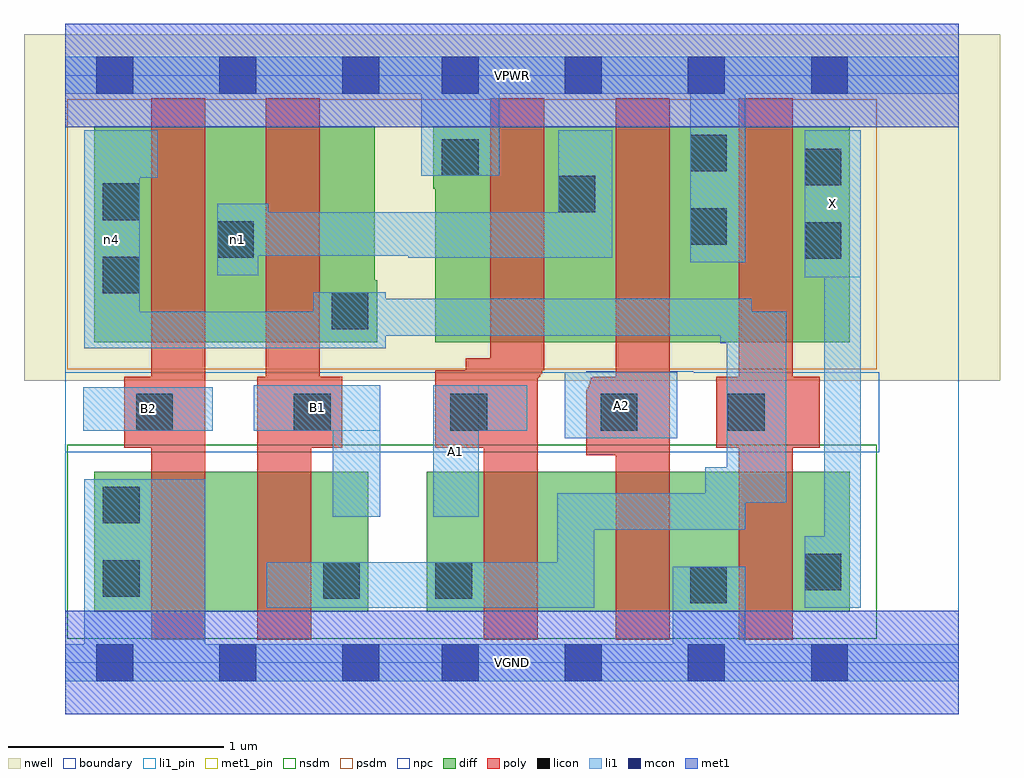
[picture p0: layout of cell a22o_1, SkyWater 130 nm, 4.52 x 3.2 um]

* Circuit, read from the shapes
.subckt a22o_1 A1 A2 B1 B2 VGND VPWR X n1 n4
XM1 n2 B2 VGND VSUBS sky130_fd_pr__nfet_01v8 w=0.65 l=0.25
XM2 n4 B1 n2 VSUBS sky130_fd_pr__nfet_01v8 w=0.65 l=0.25
XM3 n3 A1 n4 VSUBS sky130_fd_pr__nfet_01v8 w=0.65 l=0.25
XM4 VGND A2 n3 VSUBS sky130_fd_pr__nfet_01v8 w=0.65 l=0.25
XM5 X n4 VGND VSUBS sky130_fd_pr__nfet_01v8 w=0.65 l=0.25
XM6 n1 B2 n4 n5 sky130_fd_pr__pfet_01v8 w=1 l=0.25
XM7 n4 B1 n1 n5 sky130_fd_pr__pfet_01v8 w=1 l=0.25
XM8 n1 A1 VPWR n5 sky130_fd_pr__pfet_01v8 w=1 l=0.25
XM9 VPWR A2 n1 n5 sky130_fd_pr__pfet_01v8 w=1 l=0.25
XM10 X n4 VPWR n5 sky130_fd_pr__pfet_01v8 w=1 l=0.25
.ends

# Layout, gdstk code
import gdstk
lib = gdstk.Library(unit=1e-6, precision=1e-09)
def R(c, l, rs):  # rectangles x0, y0, x1, y1
    for r in rs: c.add(gdstk.rectangle(r[:2], r[2:], *l))
def A(c, l, x, y, w, h, nx, ny, dx, dy):  # array of equal rectangles
    R(c, l, [(x+i*dx, y+j*dy, x+i*dx+w, y+j*dy+h) for i in range(nx) for j in range(ny)])
nwell = (64, 20)
diff = (65, 20)
poly = (66, 20)
licon = (66, 44)
li1_pin = (67, 16)
li1 = (67, 20)
mcon = (67, 44)
met1_pin = (68, 16)
met1 = (68, 20)
nsdm = (93, 44)
psdm = (94, 20)
npc = (95, 20)
boundary = (235, 4)

a22o_1 = lib.new_cell('a22o_1')
R(a22o_1, nwell, [(-0.19,1.305,4.33,2.91), (0,1.305,4.14,2.91)])
R(a22o_1, diff, [(0.135,0.235,1.405,0.885), (1.675,0.235,3.635,0.885), (0.135,1.485,1.435,2.485), (0.135,1.485,1.445,1.77), (1.715,1.485,3.635,2.485), (1.705,2.195,3.635,2.485)])
R(a22o_1, poly, [(0.4,0.105,0.65,2.615), (0.89,0.105,1.14,1.325), (1.94,0.105,2.19,1.41), (2.55,0.105,2.8,2.615), (3.12,0.105,3.37,2.615), (2.415,0.96,2.8,1.265), (2.42,0.96,2.8,1.275), (2.425,0.96,2.8,1.29), (2.43,0.96,2.8,1.305), (2.435,0.96,2.8,1.32), (2.445,0.96,2.8,1.325), (0.275,0.995,0.65,1.325), (0.89,0.995,1.285,1.325), (0.93,0.995,1.18,2.615), (1.715,0.995,2.19,1.355), (3.015,0.995,3.495,1.325), (1.715,1.32,2.195,1.355), (1.715,1.325,2.2,1.355), (1.715,1.335,2.205,1.355), (1.715,1.34,2.21,1.355), (1.855,1.355,2.22,1.41), (1.97,1.355,2.22,2.615)])
R(a22o_1, licon, [(2.895,0.275,3.065,0.445), (1.195,0.295,1.365,0.465), (1.715,0.295,1.885,0.465), (0.175,0.305,0.345,0.475), (3.425,0.335,3.595,0.505), (0.175,0.645,0.345,0.815), (0.33,1.075,0.5,1.245), (1.06,1.075,1.23,1.245), (1.785,1.075,1.955,1.245), (2.48,1.075,2.65,1.245), (3.07,1.075,3.24,1.245), (1.235,1.545,1.405,1.715), (0.175,1.71,0.345,1.88), (3.425,1.87,3.595,2.04), (0.705,1.875,0.875,2.045), (2.895,1.935,3.065,2.105), (0.175,2.05,0.345,2.22), (2.285,2.085,2.455,2.255), (3.425,2.21,3.595,2.38), (1.745,2.255,1.915,2.425), (2.895,2.275,3.065,2.445)])
R(a22o_1, li1_pin, [(1.705,0.675,1.915,1.285), (2.315,1.04,2.835,1.345), (0.085,1.075,0.685,1.275), (0.875,1.075,1.46,1.285), (3.425,1.785,3.685,2.465)])
R(a22o_1, li1, [(0,-0.085,4.14,0.085), (0.09,-0.085,0.65,0.85), (2.815,-0.085,3.15,0.445), (0.935,0.255,2.45,0.465), (2.28,0.255,2.45,0.785), (3.425,0.255,3.685,0.585), (3.515,0.255,3.685,2.465), (2.28,0.615,3.15,0.785), (2.965,0.615,3.15,0.905), (1.24,0.675,1.46,1.285), (1.705,0.675,1.915,1.285), (3.065,0.74,3.34,1.625), (2.315,1.04,2.835,1.345), (0.085,1.075,0.685,1.275), (0.875,1.075,1.46,1.285), (1.705,1.075,2.14,1.285), (0.09,1.455,0.345,2.465), (0.09,1.455,1.485,1.625), (1.15,1.455,1.485,1.715), (3.035,1.48,3.18,1.685), (1.15,1.515,3.18,1.685), (3.425,1.785,3.685,2.465), (0.705,1.795,0.895,2.125), (2.895,1.855,3.15,2.805), (1.59,1.875,2.535,2.085), (2.285,1.875,2.535,2.465), (0.705,1.885,2.535,2.085), (0.705,1.885,0.94,2.125), (0.09,2.245,0.43,2.465), (1.65,2.255,2.01,2.805), (0,2.635,4.14,2.805)])
A(a22o_1, mcon, 0.145, -0.085, 0.17, 0.17, 3, 2, 0.57, 2.72)
A(a22o_1, mcon, 1.745, -0.085, 0.17, 0.17, 4, 2, 0.57, 2.72)
R(a22o_1, met1_pin, [(0,-0.24,4.14,0.24), (0,2.48,4.14,2.96)])
R(a22o_1, met1, [(0,-0.24,4.14,0.24), (0,2.48,4.14,2.96)])
R(a22o_1, nsdm, [(0.01,0.11,3.76,1.01)])
R(a22o_1, psdm, [(0.01,1.36,3.76,2.61)])
R(a22o_1, npc, [(0,0.975,3.77,1.345), (2.415,0.975,2.91,1.35)])
R(a22o_1, boundary, [(0,0,4.14,2.72)])
a22o_1.add(gdstk.Label('A1', (1.81,0.98), layer=67, texttype=5))
a22o_1.add(gdstk.Label('A2', (2.575,1.192), layer=67, texttype=5))
a22o_1.add(gdstk.Label('B1', (1.167,1.18), layer=67, texttype=5))
a22o_1.add(gdstk.Label('B2', (0.385,1.175), layer=67, texttype=5))
a22o_1.add(gdstk.Label('X', (3.555,2.125), layer=67, texttype=5))
a22o_1.add(gdstk.Label('n4', (0.217,1.96), layer=67, texttype=5))
a22o_1.add(gdstk.Label('n1', (0.8,1.96), layer=67, texttype=5))
a22o_1.add(gdstk.Label('VPWR', (2.07,2.72), layer=68, texttype=5))
a22o_1.add(gdstk.Label('VGND', (2.07,0), layer=68, texttype=5))
a22o_1.add(gdstk.Label('A1', (1.81,0.98), layer=67, texttype=16))
a22o_1.add(gdstk.Label('A2', (2.575,1.192), layer=67, texttype=16))
a22o_1.add(gdstk.Label('B1', (1.167,1.18), layer=67, texttype=16))
a22o_1.add(gdstk.Label('B2', (0.385,1.175), layer=67, texttype=16))
a22o_1.add(gdstk.Label('X', (3.555,2.125), layer=67, texttype=16))
a22o_1.add(gdstk.Label('VPWR', (2.07,2.72), layer=68, texttype=16))
a22o_1.add(gdstk.Label('VGND', (2.07,0), layer=68, texttype=16))

lib.write_gds('a22o_1.gds')
